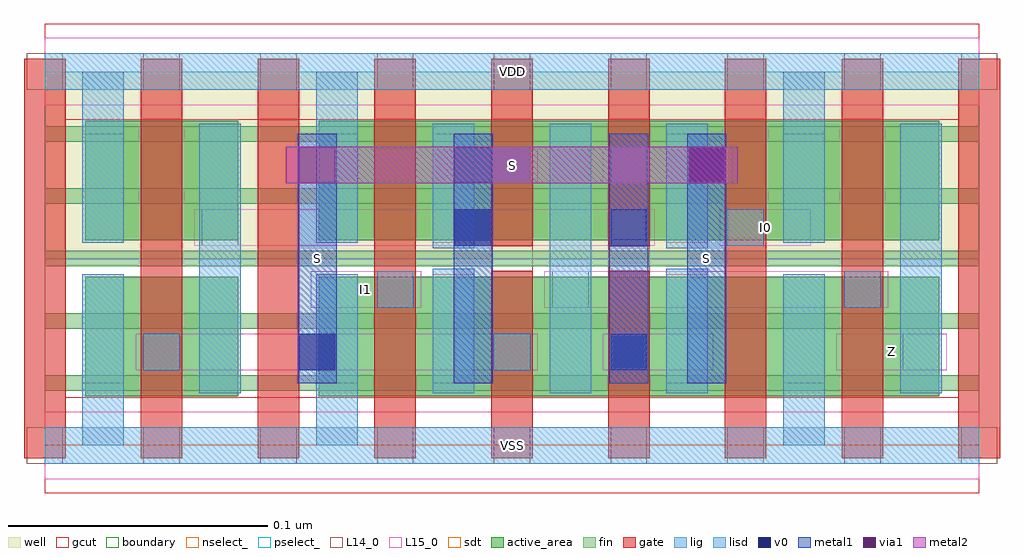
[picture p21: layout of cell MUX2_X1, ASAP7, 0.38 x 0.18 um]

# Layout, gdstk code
import gdstk
lib = gdstk.Library(unit=1e-6, precision=2.5e-10)
def R(c, l, rs):  # rectangles x0, y0, x1, y1
    for r in rs: c.add(gdstk.rectangle(r[:2], r[2:], *l))
def A(c, l, x, y, w, h, nx, ny, dx, dy):  # array of equal rectangles
    R(c, l, [(x+i*dx, y+j*dy, x+i*dx+w, y+j*dy+h) for i in range(nx) for j in range(ny)])
well = (1, 0)
fin = (2, 0)
gate = (7, 0)
gcut = (10, 0)
active_area = (11, 0)
nselect_ = (12, 0)
pselect_ = (13, 0)
L14_0 = (14, 0)
L15_0 = (15, 0)
lig = (16, 0)
lisd = (17, 0)
v0 = (18, 0)
metal1 = (19, 0)
metal2 = (20, 0)
via1 = (21, 0)
sdt = (88, 0)
boundary = (100, 0)

mux2_x1 = lib.new_cell('MUX2_X1')
R(mux2_x1, well, [(0,0.072,0.36,0.144)])
A(mux2_x1, fin, 0, 0.021, 0.36, 0.006, 1, 5, 0, 0.024)
A(mux2_x1, gate, -0.008, -0.005, 0.016, 0.154, 4, 1, 0.045, 0)
A(mux2_x1, gate, 0.262, -0.005, 0.016, 0.154, 3, 1, 0.045, 0)
R(mux2_x1, gate, [(0.172,-0.005,0.188,0.067), (0.217,-0.005,0.233,0.067), (0.172,0.077,0.188,0.149), (0.217,0.077,0.233,0.149)])
R(mux2_x1, gcut, [(0,-0.0185,0.36,0.0185), (-0.008,-0.005,0.008,0.149), (0.352,-0.005,0.368,0.149), (0.172,0.067,0.188,0.077), (0.217,0.067,0.233,0.077), (0,0.1255,0.36,0.1625)])
A(mux2_x1, active_area, 0.1055, 0.019, 0.059, 0.046, 5, 2, 0.045, 0.06)
R(mux2_x1, active_area, [(0.0155,0.019,0.0745,0.065), (0.0155,0.079,0.0745,0.125)])
R(mux2_x1, nselect_, [(0,0,0.36,0.072)])
R(mux2_x1, pselect_, [(0,0.072,0.36,0.144)])
A(mux2_x1, L14_0, -0.007, -0.007, 0.014, 0.014, 9, 2, 0.045, 0.144)
R(mux2_x1, L14_0, [(0.038,0.029,0.052,0.043), (0.173,0.029,0.187,0.043), (0.218,0.029,0.232,0.043), (0.3305,0.029,0.3445,0.043), (0.128,0.053,0.142,0.067), (0.1955,0.053,0.2095,0.067), (0.308,0.053,0.322,0.067), (0.0605,0.077,0.0745,0.091), (0.263,0.077,0.277,0.091), (0.173,0.101,0.187,0.115), (0.218,0.101,0.232,0.115)])
R(mux2_x1, L15_0, [(0,-0.013,0.36,0.013), (0.035,0.029,0.19,0.043), (0.215,0.029,0.2575,0.043), (0.305,0.029,0.3475,0.043), (0.1025,0.053,0.145,0.067), (0.1925,0.053,0.325,0.067), (0.0575,0.077,0.235,0.091), (0.26,0.077,0.295,0.091), (0.155,0.101,0.19,0.115), (0.215,0.101,0.265,0.115), (0,0.131,0.36,0.157)])
R(mux2_x1, lig, [(0,-0.007,0.36,0.007), (0.038,0.029,0.052,0.043), (0.173,0.029,0.187,0.043), (0.218,0.029,0.232,0.043), (0.128,0.053,0.142,0.067), (0.308,0.053,0.322,0.067), (0.263,0.077,0.277,0.091), (0.173,0.101,0.187,0.115), (0.218,0.101,0.232,0.115), (0,0.137,0.36,0.151)])
R(mux2_x1, lisd, [(0.0145,0,0.0305,0.066), (0.1045,0,0.1205,0.066), (0.2845,0,0.3005,0.066), (0.2845,0,0.3005,0.066), (0.0595,0.02,0.0755,0.124), (0.1495,0.02,0.1655,0.068), (0.1495,0.02,0.1655,0.068), (0.1945,0.02,0.2105,0.124), (0.1945,0.02,0.2105,0.124), (0.2395,0.02,0.2555,0.068), (0.2395,0.02,0.2555,0.068), (0.3295,0.02,0.3455,0.124), (0.1495,0.076,0.1655,0.124), (0.1495,0.076,0.1655,0.124), (0.2395,0.076,0.2555,0.124), (0.2395,0.076,0.2555,0.124), (0.0145,0.078,0.0305,0.144), (0.1045,0.078,0.1205,0.144), (0.2845,0.078,0.3005,0.144), (0.2845,0.078,0.3005,0.144)])
R(mux2_x1, v0, [(0.098,0.029,0.112,0.043), (0.218,0.029,0.232,0.043), (0.158,0.077,0.172,0.091), (0.218,0.077,0.232,0.091), (0.158,0.101,0.172,0.115), (0.248,0.101,0.262,0.115)])
A(mux2_x1, metal1, 0.0975, 0.024, 0.015, 0.096, 3, 1, 0.06, 0)
R(mux2_x1, metal1, [(0.2475,0.024,0.2625,0.12)])
R(mux2_x1, metal2, [(0.093,0.101,0.267,0.115)])
R(mux2_x1, via1, [(0.098,0.101,0.112,0.115), (0.248,0.101,0.262,0.115)])
R(mux2_x1, sdt, [(0.0595,0.02,0.0755,0.124), (0.1945,0.02,0.2105,0.124), (0.1945,0.02,0.2105,0.124), (0.3295,0.02,0.3455,0.124), (0.0145,0.024,0.0305,0.066), (0.1045,0.024,0.1205,0.066), (0.1495,0.024,0.1655,0.066), (0.1495,0.024,0.1655,0.066), (0.2395,0.024,0.2555,0.066), (0.2395,0.024,0.2555,0.066), (0.2845,0.024,0.3005,0.066), (0.2845,0.024,0.3005,0.066), (0.0145,0.078,0.0305,0.12), (0.1045,0.078,0.1205,0.12), (0.1495,0.078,0.1655,0.12), (0.1495,0.078,0.1655,0.12), (0.2395,0.078,0.2555,0.12), (0.2395,0.078,0.2555,0.12), (0.2845,0.078,0.3005,0.12), (0.2845,0.078,0.3005,0.12)])
R(mux2_x1, boundary, [(0,0,0.36,0.144)])
mux2_x1.add(gdstk.Label('VDD', (0.18,0.144), layer=1, texttype=251))
mux2_x1.add(gdstk.Label('VSS', (0.18,0), layer=3, texttype=251))
mux2_x1.add(gdstk.Label('I1', (0.1237,0.06), layer=15, texttype=251))
mux2_x1.add(gdstk.Label('I0', (0.2775,0.084), layer=15, texttype=251))
mux2_x1.add(gdstk.Label('Z', (0.3262,0.036), layer=15, texttype=251))
mux2_x1.add(gdstk.Label('VSS', (0.18,0), layer=15, texttype=251))
mux2_x1.add(gdstk.Label('VDD', (0.18,0.144), layer=15, texttype=251))
mux2_x1.add(gdstk.Label('S', (0.105,0.072), layer=19, texttype=251))
mux2_x1.add(gdstk.Label('S', (0.255,0.072), layer=19, texttype=251))
mux2_x1.add(gdstk.Label('S', (0.18,0.108), layer=20, texttype=251))

lib.write_gds('MUX2_X1.gds')
